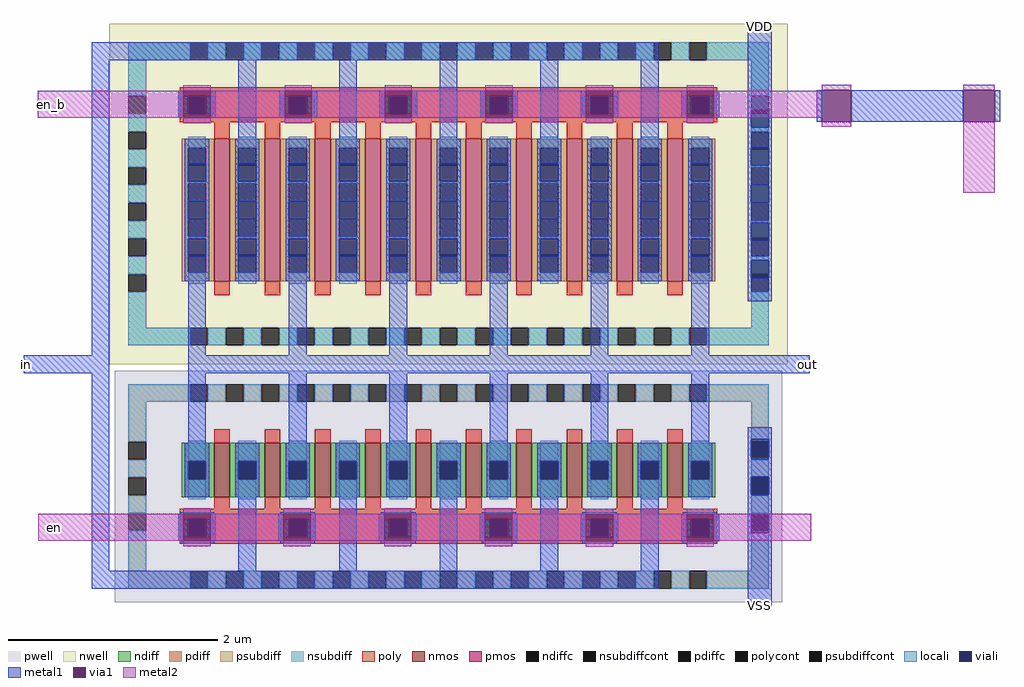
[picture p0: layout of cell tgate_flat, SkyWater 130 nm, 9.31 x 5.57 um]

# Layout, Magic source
magic
tech sky130A
magscale 1 2
<< nwell >>
rect 1257 863 2551 1513
<< pwell >>
rect 1267 409 2541 851
<< nmos >>
rect 1457 609 1487 713
rect 1553 609 1583 713
rect 1649 609 1679 713
rect 1745 609 1775 713
rect 1841 609 1871 713
rect 1937 609 1967 713
rect 2033 609 2063 713
rect 2129 609 2159 713
rect 2225 609 2255 713
rect 2321 609 2351 713
<< pmos >>
rect 1457 1021 1487 1293
rect 1553 1021 1583 1293
rect 1649 1021 1679 1293
rect 1745 1021 1775 1293
rect 1841 1021 1871 1293
rect 1937 1021 1967 1293
rect 2033 1021 2063 1293
rect 2129 1021 2159 1293
rect 2225 1021 2255 1293
rect 2321 1021 2351 1293
<< ndiff >>
rect 1395 678 1457 713
rect 1395 644 1407 678
rect 1441 644 1457 678
rect 1395 609 1457 644
rect 1487 678 1553 713
rect 1487 644 1503 678
rect 1537 644 1553 678
rect 1487 609 1553 644
rect 1583 678 1649 713
rect 1583 644 1599 678
rect 1633 644 1649 678
rect 1583 609 1649 644
rect 1679 678 1745 713
rect 1679 644 1695 678
rect 1729 644 1745 678
rect 1679 609 1745 644
rect 1775 678 1841 713
rect 1775 644 1791 678
rect 1825 644 1841 678
rect 1775 609 1841 644
rect 1871 678 1937 713
rect 1871 644 1887 678
rect 1921 644 1937 678
rect 1871 609 1937 644
rect 1967 678 2033 713
rect 1967 644 1983 678
rect 2017 644 2033 678
rect 1967 609 2033 644
rect 2063 678 2129 713
rect 2063 644 2079 678
rect 2113 644 2129 678
rect 2063 609 2129 644
rect 2159 678 2225 713
rect 2159 644 2175 678
rect 2209 644 2225 678
rect 2159 609 2225 644
rect 2255 678 2321 713
rect 2255 644 2271 678
rect 2305 644 2321 678
rect 2255 609 2321 644
rect 2351 678 2413 713
rect 2351 644 2367 678
rect 2401 644 2413 678
rect 2351 609 2413 644
<< pdiff >>
rect 1395 1276 1457 1293
rect 1395 1242 1407 1276
rect 1441 1242 1457 1276
rect 1395 1208 1457 1242
rect 1395 1174 1407 1208
rect 1441 1174 1457 1208
rect 1395 1140 1457 1174
rect 1395 1106 1407 1140
rect 1441 1106 1457 1140
rect 1395 1072 1457 1106
rect 1395 1038 1407 1072
rect 1441 1038 1457 1072
rect 1395 1021 1457 1038
rect 1487 1276 1553 1293
rect 1487 1242 1503 1276
rect 1537 1242 1553 1276
rect 1487 1208 1553 1242
rect 1487 1174 1503 1208
rect 1537 1174 1553 1208
rect 1487 1140 1553 1174
rect 1487 1106 1503 1140
rect 1537 1106 1553 1140
rect 1487 1072 1553 1106
rect 1487 1038 1503 1072
rect 1537 1038 1553 1072
rect 1487 1021 1553 1038
rect 1583 1276 1649 1293
rect 1583 1242 1599 1276
rect 1633 1242 1649 1276
rect 1583 1208 1649 1242
rect 1583 1174 1599 1208
rect 1633 1174 1649 1208
rect 1583 1140 1649 1174
rect 1583 1106 1599 1140
rect 1633 1106 1649 1140
rect 1583 1072 1649 1106
rect 1583 1038 1599 1072
rect 1633 1038 1649 1072
rect 1583 1021 1649 1038
rect 1679 1276 1745 1293
rect 1679 1242 1695 1276
rect 1729 1242 1745 1276
rect 1679 1208 1745 1242
rect 1679 1174 1695 1208
rect 1729 1174 1745 1208
rect 1679 1140 1745 1174
rect 1679 1106 1695 1140
rect 1729 1106 1745 1140
rect 1679 1072 1745 1106
rect 1679 1038 1695 1072
rect 1729 1038 1745 1072
rect 1679 1021 1745 1038
rect 1775 1276 1841 1293
rect 1775 1242 1791 1276
rect 1825 1242 1841 1276
rect 1775 1208 1841 1242
rect 1775 1174 1791 1208
rect 1825 1174 1841 1208
rect 1775 1140 1841 1174
rect 1775 1106 1791 1140
rect 1825 1106 1841 1140
rect 1775 1072 1841 1106
rect 1775 1038 1791 1072
rect 1825 1038 1841 1072
rect 1775 1021 1841 1038
rect 1871 1276 1937 1293
rect 1871 1242 1887 1276
rect 1921 1242 1937 1276
rect 1871 1208 1937 1242
rect 1871 1174 1887 1208
rect 1921 1174 1937 1208
rect 1871 1140 1937 1174
rect 1871 1106 1887 1140
rect 1921 1106 1937 1140
rect 1871 1072 1937 1106
rect 1871 1038 1887 1072
rect 1921 1038 1937 1072
rect 1871 1021 1937 1038
rect 1967 1276 2033 1293
rect 1967 1242 1983 1276
rect 2017 1242 2033 1276
rect 1967 1208 2033 1242
rect 1967 1174 1983 1208
rect 2017 1174 2033 1208
rect 1967 1140 2033 1174
rect 1967 1106 1983 1140
rect 2017 1106 2033 1140
rect 1967 1072 2033 1106
rect 1967 1038 1983 1072
rect 2017 1038 2033 1072
rect 1967 1021 2033 1038
rect 2063 1276 2129 1293
rect 2063 1242 2079 1276
rect 2113 1242 2129 1276
rect 2063 1208 2129 1242
rect 2063 1174 2079 1208
rect 2113 1174 2129 1208
rect 2063 1140 2129 1174
rect 2063 1106 2079 1140
rect 2113 1106 2129 1140
rect 2063 1072 2129 1106
rect 2063 1038 2079 1072
rect 2113 1038 2129 1072
rect 2063 1021 2129 1038
rect 2159 1276 2225 1293
rect 2159 1242 2175 1276
rect 2209 1242 2225 1276
rect 2159 1208 2225 1242
rect 2159 1174 2175 1208
rect 2209 1174 2225 1208
rect 2159 1140 2225 1174
rect 2159 1106 2175 1140
rect 2209 1106 2225 1140
rect 2159 1072 2225 1106
rect 2159 1038 2175 1072
rect 2209 1038 2225 1072
rect 2159 1021 2225 1038
rect 2255 1276 2321 1293
rect 2255 1242 2271 1276
rect 2305 1242 2321 1276
rect 2255 1208 2321 1242
rect 2255 1174 2271 1208
rect 2305 1174 2321 1208
rect 2255 1140 2321 1174
rect 2255 1106 2271 1140
rect 2305 1106 2321 1140
rect 2255 1072 2321 1106
rect 2255 1038 2271 1072
rect 2305 1038 2321 1072
rect 2255 1021 2321 1038
rect 2351 1276 2413 1293
rect 2351 1242 2367 1276
rect 2401 1242 2413 1276
rect 2351 1208 2413 1242
rect 2351 1174 2367 1208
rect 2401 1174 2413 1208
rect 2351 1140 2413 1174
rect 2351 1106 2367 1140
rect 2401 1106 2413 1140
rect 2351 1072 2413 1106
rect 2351 1038 2367 1072
rect 2401 1038 2413 1072
rect 2351 1021 2413 1038
<< ndiffc >>
rect 1407 644 1441 678
rect 1503 644 1537 678
rect 1599 644 1633 678
rect 1695 644 1729 678
rect 1791 644 1825 678
rect 1887 644 1921 678
rect 1983 644 2017 678
rect 2079 644 2113 678
rect 2175 644 2209 678
rect 2271 644 2305 678
rect 2367 644 2401 678
<< pdiffc >>
rect 1407 1242 1441 1276
rect 1407 1174 1441 1208
rect 1407 1106 1441 1140
rect 1407 1038 1441 1072
rect 1503 1242 1537 1276
rect 1503 1174 1537 1208
rect 1503 1106 1537 1140
rect 1503 1038 1537 1072
rect 1599 1242 1633 1276
rect 1599 1174 1633 1208
rect 1599 1106 1633 1140
rect 1599 1038 1633 1072
rect 1695 1242 1729 1276
rect 1695 1174 1729 1208
rect 1695 1106 1729 1140
rect 1695 1038 1729 1072
rect 1791 1242 1825 1276
rect 1791 1174 1825 1208
rect 1791 1106 1825 1140
rect 1791 1038 1825 1072
rect 1887 1242 1921 1276
rect 1887 1174 1921 1208
rect 1887 1106 1921 1140
rect 1887 1038 1921 1072
rect 1983 1242 2017 1276
rect 1983 1174 2017 1208
rect 1983 1106 2017 1140
rect 1983 1038 2017 1072
rect 2079 1242 2113 1276
rect 2079 1174 2113 1208
rect 2079 1106 2113 1140
rect 2079 1038 2113 1072
rect 2175 1242 2209 1276
rect 2175 1174 2209 1208
rect 2175 1106 2209 1140
rect 2175 1038 2209 1072
rect 2271 1242 2305 1276
rect 2271 1174 2305 1208
rect 2271 1106 2305 1140
rect 2271 1038 2305 1072
rect 2367 1242 2401 1276
rect 2367 1174 2401 1208
rect 2367 1106 2401 1140
rect 2367 1038 2401 1072
<< psubdiff >>
rect 1293 791 1411 825
rect 1445 791 1479 825
rect 1513 791 1547 825
rect 1581 791 1615 825
rect 1649 791 1683 825
rect 1717 791 1751 825
rect 1785 791 1819 825
rect 1853 791 1887 825
rect 1921 791 1955 825
rect 1989 791 2023 825
rect 2057 791 2091 825
rect 2125 791 2159 825
rect 2193 791 2227 825
rect 2261 791 2295 825
rect 2329 791 2363 825
rect 2397 791 2515 825
rect 1293 715 1327 791
rect 2481 715 2515 791
rect 1293 647 1327 681
rect 1293 579 1327 613
rect 2481 647 2515 681
rect 1293 469 1327 545
rect 2481 579 2515 613
rect 2481 469 2515 545
rect 1293 435 1411 469
rect 1445 435 1479 469
rect 1513 435 1547 469
rect 1581 435 1615 469
rect 1649 435 1683 469
rect 1717 435 1751 469
rect 1785 435 1819 469
rect 1853 435 1887 469
rect 1921 435 1955 469
rect 1989 435 2023 469
rect 2057 435 2091 469
rect 2125 435 2159 469
rect 2193 435 2227 469
rect 2261 435 2295 469
rect 2329 435 2363 469
rect 2397 435 2515 469
<< nsubdiff >>
rect 1293 1443 1411 1477
rect 1445 1443 1479 1477
rect 1513 1443 1547 1477
rect 1581 1443 1615 1477
rect 1649 1443 1683 1477
rect 1717 1443 1751 1477
rect 1785 1443 1819 1477
rect 1853 1443 1887 1477
rect 1921 1443 1955 1477
rect 1989 1443 2023 1477
rect 2057 1443 2091 1477
rect 2125 1443 2159 1477
rect 2193 1443 2227 1477
rect 2261 1443 2295 1477
rect 2329 1443 2363 1477
rect 2397 1443 2515 1477
rect 1293 1375 1327 1443
rect 1293 1307 1327 1341
rect 2481 1375 2515 1443
rect 2481 1307 2515 1341
rect 1293 1239 1327 1273
rect 1293 1171 1327 1205
rect 1293 1103 1327 1137
rect 1293 1035 1327 1069
rect 2481 1239 2515 1273
rect 2481 1171 2515 1205
rect 2481 1103 2515 1137
rect 2481 1035 2515 1069
rect 1293 933 1327 1001
rect 2481 933 2515 1001
rect 1293 899 1411 933
rect 1445 899 1479 933
rect 1513 899 1547 933
rect 1581 899 1615 933
rect 1649 899 1683 933
rect 1717 899 1751 933
rect 1785 899 1819 933
rect 1853 899 1887 933
rect 1921 899 1955 933
rect 1989 899 2023 933
rect 2057 899 2091 933
rect 2125 899 2159 933
rect 2193 899 2227 933
rect 2261 899 2295 933
rect 2329 899 2363 933
rect 2397 899 2515 933
<< psubdiffcont >>
rect 1411 791 1445 825
rect 1479 791 1513 825
rect 1547 791 1581 825
rect 1615 791 1649 825
rect 1683 791 1717 825
rect 1751 791 1785 825
rect 1819 791 1853 825
rect 1887 791 1921 825
rect 1955 791 1989 825
rect 2023 791 2057 825
rect 2091 791 2125 825
rect 2159 791 2193 825
rect 2227 791 2261 825
rect 2295 791 2329 825
rect 2363 791 2397 825
rect 1293 681 1327 715
rect 1293 613 1327 647
rect 2481 681 2515 715
rect 2481 613 2515 647
rect 1293 545 1327 579
rect 2481 545 2515 579
rect 1411 435 1445 469
rect 1479 435 1513 469
rect 1547 435 1581 469
rect 1615 435 1649 469
rect 1683 435 1717 469
rect 1751 435 1785 469
rect 1819 435 1853 469
rect 1887 435 1921 469
rect 1955 435 1989 469
rect 2023 435 2057 469
rect 2091 435 2125 469
rect 2159 435 2193 469
rect 2227 435 2261 469
rect 2295 435 2329 469
rect 2363 435 2397 469
<< nsubdiffcont >>
rect 1411 1443 1445 1477
rect 1479 1443 1513 1477
rect 1547 1443 1581 1477
rect 1615 1443 1649 1477
rect 1683 1443 1717 1477
rect 1751 1443 1785 1477
rect 1819 1443 1853 1477
rect 1887 1443 1921 1477
rect 1955 1443 1989 1477
rect 2023 1443 2057 1477
rect 2091 1443 2125 1477
rect 2159 1443 2193 1477
rect 2227 1443 2261 1477
rect 2295 1443 2329 1477
rect 2363 1443 2397 1477
rect 1293 1341 1327 1375
rect 2481 1341 2515 1375
rect 1293 1273 1327 1307
rect 1293 1205 1327 1239
rect 1293 1137 1327 1171
rect 1293 1069 1327 1103
rect 1293 1001 1327 1035
rect 2481 1273 2515 1307
rect 2481 1205 2515 1239
rect 2481 1137 2515 1171
rect 2481 1069 2515 1103
rect 2481 1001 2515 1035
rect 1411 899 1445 933
rect 1479 899 1513 933
rect 1547 899 1581 933
rect 1615 899 1649 933
rect 1683 899 1717 933
rect 1751 899 1785 933
rect 1819 899 1853 933
rect 1887 899 1921 933
rect 1955 899 1989 933
rect 2023 899 2057 933
rect 2091 899 2125 933
rect 2159 899 2193 933
rect 2227 899 2261 933
rect 2295 899 2329 933
rect 2363 899 2397 933
<< poly >>
rect 1391 1375 2417 1391
rect 1391 1341 1407 1375
rect 1441 1341 1599 1375
rect 1633 1341 1791 1375
rect 1825 1341 1983 1375
rect 2017 1341 2175 1375
rect 2209 1341 2367 1375
rect 2401 1341 2417 1375
rect 1391 1325 2417 1341
rect 1457 1293 1487 1325
rect 1553 1293 1583 1325
rect 1649 1293 1679 1325
rect 1745 1293 1775 1325
rect 1841 1293 1871 1325
rect 1937 1293 1967 1325
rect 2033 1293 2063 1325
rect 2129 1293 2159 1325
rect 2225 1293 2255 1325
rect 2321 1293 2351 1325
rect 1457 995 1487 1021
rect 1553 995 1583 1021
rect 1649 995 1679 1021
rect 1745 995 1775 1021
rect 1841 995 1871 1021
rect 1937 995 1967 1021
rect 2033 995 2063 1021
rect 2129 995 2159 1021
rect 2225 995 2255 1021
rect 2321 995 2351 1021
rect 1457 713 1487 739
rect 1553 713 1583 739
rect 1649 713 1679 739
rect 1745 713 1775 739
rect 1841 713 1871 739
rect 1937 713 1967 739
rect 2033 713 2063 739
rect 2129 713 2159 739
rect 2225 713 2255 739
rect 2321 713 2351 739
rect 1457 587 1487 609
rect 1553 587 1583 609
rect 1649 587 1679 609
rect 1745 587 1775 609
rect 1841 587 1871 609
rect 1937 587 1967 609
rect 2033 587 2063 609
rect 2129 587 2159 609
rect 2225 587 2255 609
rect 2321 587 2351 609
rect 1391 567 2417 587
rect 1391 533 1407 567
rect 1441 533 1599 567
rect 1633 533 1791 567
rect 1825 533 1983 567
rect 2017 533 2175 567
rect 2209 533 2367 567
rect 2401 533 2417 567
rect 1391 521 2417 533
<< polycont >>
rect 1407 1341 1441 1375
rect 1599 1341 1633 1375
rect 1791 1341 1825 1375
rect 1983 1341 2017 1375
rect 2175 1341 2209 1375
rect 2367 1341 2401 1375
rect 1407 533 1441 567
rect 1599 533 1633 567
rect 1791 533 1825 567
rect 1983 533 2017 567
rect 2175 533 2209 567
rect 2367 533 2401 567
<< locali >>
rect 1293 1443 1411 1477
rect 1445 1443 1479 1477
rect 1513 1443 1547 1477
rect 1581 1443 1615 1477
rect 1649 1443 1683 1477
rect 1717 1443 1751 1477
rect 1785 1443 1819 1477
rect 1853 1443 1887 1477
rect 1921 1443 1955 1477
rect 1989 1443 2023 1477
rect 2057 1443 2091 1477
rect 2125 1443 2159 1477
rect 2193 1443 2227 1477
rect 2261 1443 2295 1477
rect 2329 1443 2363 1477
rect 2397 1443 2515 1477
rect 1293 1375 1327 1443
rect 2481 1375 2515 1443
rect 1391 1341 1407 1375
rect 1441 1341 1457 1375
rect 1583 1341 1599 1375
rect 1633 1341 1649 1375
rect 1775 1341 1791 1375
rect 1825 1341 1841 1375
rect 1967 1341 1983 1375
rect 2017 1341 2033 1375
rect 2159 1341 2175 1375
rect 2209 1341 2225 1375
rect 2351 1341 2367 1375
rect 2401 1341 2417 1375
rect 1293 1307 1327 1341
rect 2481 1307 2515 1315
rect 1293 1239 1327 1273
rect 1293 1171 1327 1205
rect 1293 1103 1327 1137
rect 1293 1035 1327 1069
rect 1407 1276 1441 1297
rect 1407 1208 1441 1212
rect 1407 1102 1441 1106
rect 1407 1017 1441 1038
rect 1503 1276 1537 1297
rect 1503 1208 1537 1212
rect 1503 1102 1537 1106
rect 1503 1017 1537 1038
rect 1599 1276 1633 1297
rect 1599 1208 1633 1212
rect 1599 1102 1633 1106
rect 1599 1017 1633 1038
rect 1695 1276 1729 1297
rect 1695 1208 1729 1212
rect 1695 1102 1729 1106
rect 1695 1017 1729 1038
rect 1791 1276 1825 1297
rect 1791 1208 1825 1212
rect 1791 1102 1825 1106
rect 1791 1017 1825 1038
rect 1887 1276 1921 1297
rect 1887 1208 1921 1212
rect 1887 1102 1921 1106
rect 1887 1017 1921 1038
rect 1983 1276 2017 1297
rect 1983 1208 2017 1212
rect 1983 1102 2017 1106
rect 1983 1017 2017 1038
rect 2079 1276 2113 1297
rect 2079 1208 2113 1212
rect 2079 1102 2113 1106
rect 2079 1017 2113 1038
rect 2175 1276 2209 1297
rect 2175 1208 2209 1212
rect 2175 1102 2209 1106
rect 2175 1017 2209 1038
rect 2271 1276 2305 1297
rect 2271 1208 2305 1212
rect 2271 1102 2305 1106
rect 2271 1017 2305 1038
rect 2367 1276 2401 1297
rect 2367 1208 2401 1212
rect 2367 1102 2401 1106
rect 2367 1017 2401 1038
rect 2481 1239 2515 1243
rect 2481 1133 2515 1137
rect 2481 1061 2515 1069
rect 1293 933 1327 1001
rect 2481 933 2515 1001
rect 1293 899 1411 933
rect 1445 899 1479 933
rect 1513 899 1547 933
rect 1581 899 1615 933
rect 1649 899 1683 933
rect 1717 899 1751 933
rect 1785 899 1819 933
rect 1853 899 1887 933
rect 1921 899 1955 933
rect 1989 899 2023 933
rect 2057 899 2091 933
rect 2125 899 2159 933
rect 2193 899 2227 933
rect 2261 899 2295 933
rect 2329 899 2363 933
rect 2397 899 2515 933
rect 1293 791 1411 825
rect 1445 791 1479 825
rect 1513 791 1547 825
rect 1581 791 1615 825
rect 1649 791 1683 825
rect 1717 791 1751 825
rect 1785 791 1819 825
rect 1853 791 1887 825
rect 1921 791 1955 825
rect 1989 791 2023 825
rect 2057 791 2091 825
rect 2125 791 2159 825
rect 2193 791 2227 825
rect 2261 791 2295 825
rect 2329 791 2363 825
rect 2397 791 2515 825
rect 1293 715 1327 791
rect 2481 720 2515 791
rect 1293 647 1327 681
rect 1293 579 1327 613
rect 1407 678 1441 717
rect 1407 605 1441 644
rect 1503 678 1537 717
rect 1503 605 1537 644
rect 1599 678 1633 717
rect 1599 605 1633 644
rect 1695 678 1729 717
rect 1695 605 1729 644
rect 1791 678 1825 717
rect 1791 605 1825 644
rect 1887 678 1921 717
rect 1887 605 1921 644
rect 1983 678 2017 717
rect 1983 605 2017 644
rect 2079 678 2113 717
rect 2079 605 2113 644
rect 2175 678 2209 717
rect 2175 605 2209 644
rect 2271 678 2305 717
rect 2271 605 2305 644
rect 2367 678 2401 717
rect 2367 605 2401 644
rect 2481 648 2515 681
rect 2481 579 2515 613
rect 1293 469 1327 545
rect 1391 533 1407 567
rect 1441 533 1457 567
rect 1583 533 1599 567
rect 1633 533 1649 567
rect 1775 533 1791 567
rect 1825 533 1841 567
rect 1967 533 1983 567
rect 2017 533 2033 567
rect 2159 533 2175 567
rect 2209 533 2225 567
rect 2351 533 2367 567
rect 2401 533 2417 567
rect 2481 469 2515 542
rect 1293 435 1411 469
rect 1445 435 1479 469
rect 1513 435 1547 469
rect 1581 435 1615 469
rect 1649 435 1683 469
rect 1717 435 1751 469
rect 1785 435 1819 469
rect 1853 435 1887 469
rect 1921 435 1955 469
rect 1989 435 2023 469
rect 2057 435 2091 469
rect 2125 435 2159 469
rect 2193 435 2227 469
rect 2261 435 2295 469
rect 2329 435 2363 469
rect 2397 435 2515 469
<< viali >>
rect 1407 1341 1441 1375
rect 1599 1341 1633 1375
rect 1791 1341 1825 1375
rect 1983 1341 2017 1375
rect 2175 1341 2209 1375
rect 2367 1341 2401 1375
rect 2481 1341 2515 1349
rect 2481 1315 2515 1341
rect 1407 1242 1441 1246
rect 1407 1212 1441 1242
rect 1407 1140 1441 1174
rect 1407 1072 1441 1102
rect 1407 1068 1441 1072
rect 1503 1242 1537 1246
rect 1503 1212 1537 1242
rect 1503 1140 1537 1174
rect 1503 1072 1537 1102
rect 1503 1068 1537 1072
rect 1599 1242 1633 1246
rect 1599 1212 1633 1242
rect 1599 1140 1633 1174
rect 1599 1072 1633 1102
rect 1599 1068 1633 1072
rect 1695 1242 1729 1246
rect 1695 1212 1729 1242
rect 1695 1140 1729 1174
rect 1695 1072 1729 1102
rect 1695 1068 1729 1072
rect 1791 1242 1825 1246
rect 1791 1212 1825 1242
rect 1791 1140 1825 1174
rect 1791 1072 1825 1102
rect 1791 1068 1825 1072
rect 1887 1242 1921 1246
rect 1887 1212 1921 1242
rect 1887 1140 1921 1174
rect 1887 1072 1921 1102
rect 1887 1068 1921 1072
rect 1983 1242 2017 1246
rect 1983 1212 2017 1242
rect 1983 1140 2017 1174
rect 1983 1072 2017 1102
rect 1983 1068 2017 1072
rect 2079 1242 2113 1246
rect 2079 1212 2113 1242
rect 2079 1140 2113 1174
rect 2079 1072 2113 1102
rect 2079 1068 2113 1072
rect 2175 1242 2209 1246
rect 2175 1212 2209 1242
rect 2175 1140 2209 1174
rect 2175 1072 2209 1102
rect 2175 1068 2209 1072
rect 2271 1242 2305 1246
rect 2271 1212 2305 1242
rect 2271 1140 2305 1174
rect 2271 1072 2305 1102
rect 2271 1068 2305 1072
rect 2367 1242 2401 1246
rect 2367 1212 2401 1242
rect 2367 1140 2401 1174
rect 2367 1072 2401 1102
rect 2367 1068 2401 1072
rect 2481 1273 2515 1277
rect 2481 1243 2515 1273
rect 2481 1171 2515 1205
rect 2481 1103 2515 1133
rect 2481 1099 2515 1103
rect 2481 1035 2515 1061
rect 2481 1027 2515 1035
rect 1407 644 1441 678
rect 1503 644 1537 678
rect 1599 644 1633 678
rect 1695 644 1729 678
rect 1791 644 1825 678
rect 1887 644 1921 678
rect 1983 644 2017 678
rect 2079 644 2113 678
rect 2175 644 2209 678
rect 2271 644 2305 678
rect 2367 644 2401 678
rect 2481 715 2515 720
rect 2481 686 2515 715
rect 2481 647 2515 648
rect 2481 614 2515 647
rect 1407 533 1441 567
rect 1599 533 1633 567
rect 1791 533 1825 567
rect 1983 533 2017 567
rect 2175 533 2209 567
rect 2367 533 2401 567
rect 2481 545 2515 576
rect 2481 542 2515 545
<< metal1 >>
rect 1223 1443 2305 1477
rect 1223 880 1257 1443
rect 1388 1333 1398 1385
rect 1450 1333 1460 1385
rect 1503 1293 1537 1443
rect 1581 1333 1591 1385
rect 1643 1333 1653 1385
rect 1695 1293 1729 1443
rect 1772 1333 1782 1385
rect 1834 1333 1844 1385
rect 1887 1293 1921 1443
rect 1964 1333 1974 1385
rect 2026 1333 2036 1385
rect 2079 1293 2113 1443
rect 2156 1333 2166 1385
rect 2218 1333 2228 1385
rect 2271 1293 2305 1443
rect 2348 1333 2358 1385
rect 2410 1333 2420 1385
rect 2475 1349 2521 1513
rect 2475 1315 2481 1349
rect 2515 1315 2521 1349
rect 2606 1326 2616 1386
rect 2672 1326 2886 1386
rect 2946 1326 2956 1386
rect 1401 1246 1447 1293
rect 1401 1212 1407 1246
rect 1441 1212 1447 1246
rect 1401 1174 1447 1212
rect 1401 1140 1407 1174
rect 1441 1140 1447 1174
rect 1401 1102 1447 1140
rect 1401 1068 1407 1102
rect 1441 1068 1447 1102
rect 1401 1021 1447 1068
rect 1497 1246 1543 1293
rect 1497 1212 1503 1246
rect 1537 1212 1543 1246
rect 1497 1174 1543 1212
rect 1497 1140 1503 1174
rect 1537 1140 1543 1174
rect 1497 1102 1543 1140
rect 1497 1068 1503 1102
rect 1537 1068 1543 1102
rect 1497 1021 1543 1068
rect 1593 1246 1639 1293
rect 1593 1212 1599 1246
rect 1633 1212 1639 1246
rect 1593 1174 1639 1212
rect 1593 1140 1599 1174
rect 1633 1140 1639 1174
rect 1593 1102 1639 1140
rect 1593 1068 1599 1102
rect 1633 1068 1639 1102
rect 1593 1021 1639 1068
rect 1689 1246 1735 1293
rect 1689 1212 1695 1246
rect 1729 1212 1735 1246
rect 1689 1174 1735 1212
rect 1689 1140 1695 1174
rect 1729 1140 1735 1174
rect 1689 1102 1735 1140
rect 1689 1068 1695 1102
rect 1729 1068 1735 1102
rect 1689 1021 1735 1068
rect 1785 1246 1831 1293
rect 1785 1212 1791 1246
rect 1825 1212 1831 1246
rect 1785 1174 1831 1212
rect 1785 1140 1791 1174
rect 1825 1140 1831 1174
rect 1785 1102 1831 1140
rect 1785 1068 1791 1102
rect 1825 1068 1831 1102
rect 1785 1021 1831 1068
rect 1881 1246 1927 1293
rect 1881 1212 1887 1246
rect 1921 1212 1927 1246
rect 1881 1174 1927 1212
rect 1881 1140 1887 1174
rect 1921 1140 1927 1174
rect 1881 1102 1927 1140
rect 1881 1068 1887 1102
rect 1921 1068 1927 1102
rect 1881 1021 1927 1068
rect 1977 1246 2023 1293
rect 1977 1212 1983 1246
rect 2017 1212 2023 1246
rect 1977 1174 2023 1212
rect 1977 1140 1983 1174
rect 2017 1140 2023 1174
rect 1977 1102 2023 1140
rect 1977 1068 1983 1102
rect 2017 1068 2023 1102
rect 1977 1021 2023 1068
rect 2073 1246 2119 1293
rect 2073 1212 2079 1246
rect 2113 1212 2119 1246
rect 2073 1174 2119 1212
rect 2073 1140 2079 1174
rect 2113 1140 2119 1174
rect 2073 1102 2119 1140
rect 2073 1068 2079 1102
rect 2113 1068 2119 1102
rect 2073 1021 2119 1068
rect 2169 1246 2215 1293
rect 2169 1212 2175 1246
rect 2209 1212 2215 1246
rect 2169 1174 2215 1212
rect 2169 1140 2175 1174
rect 2209 1140 2215 1174
rect 2169 1102 2215 1140
rect 2169 1068 2175 1102
rect 2209 1068 2215 1102
rect 2169 1021 2215 1068
rect 2265 1246 2311 1293
rect 2265 1212 2271 1246
rect 2305 1212 2311 1246
rect 2265 1174 2311 1212
rect 2265 1140 2271 1174
rect 2305 1140 2311 1174
rect 2265 1102 2311 1140
rect 2265 1068 2271 1102
rect 2305 1068 2311 1102
rect 2265 1021 2311 1068
rect 2361 1246 2407 1293
rect 2361 1212 2367 1246
rect 2401 1212 2407 1246
rect 2361 1174 2407 1212
rect 2361 1140 2367 1174
rect 2401 1140 2407 1174
rect 2361 1102 2407 1140
rect 2361 1068 2367 1102
rect 2401 1068 2407 1102
rect 2361 1021 2407 1068
rect 2475 1277 2521 1315
rect 2475 1243 2481 1277
rect 2515 1243 2521 1277
rect 2475 1205 2521 1243
rect 2475 1171 2481 1205
rect 2515 1171 2521 1205
rect 2475 1133 2521 1171
rect 2475 1099 2481 1133
rect 2515 1099 2521 1133
rect 2475 1061 2521 1099
rect 2475 1027 2481 1061
rect 2515 1027 2521 1061
rect 1094 846 1257 880
rect 1223 469 1257 846
rect 1407 880 1441 1021
rect 1599 880 1633 1021
rect 1791 880 1825 1021
rect 1983 880 2017 1021
rect 2175 880 2209 1021
rect 2367 880 2401 1021
rect 2475 983 2521 1027
rect 1407 846 2593 880
rect 1407 713 1441 846
rect 1599 713 1633 846
rect 1791 713 1825 846
rect 1983 713 2017 846
rect 2175 713 2209 846
rect 2367 713 2401 846
rect 2475 720 2521 743
rect 1401 678 1447 713
rect 1401 644 1407 678
rect 1441 644 1447 678
rect 1401 609 1447 644
rect 1497 678 1543 713
rect 1497 644 1503 678
rect 1537 644 1543 678
rect 1497 609 1543 644
rect 1593 678 1639 713
rect 1593 644 1599 678
rect 1633 644 1639 678
rect 1593 609 1639 644
rect 1689 678 1735 713
rect 1689 644 1695 678
rect 1729 644 1735 678
rect 1689 609 1735 644
rect 1785 678 1831 713
rect 1785 644 1791 678
rect 1825 644 1831 678
rect 1785 609 1831 644
rect 1881 678 1927 713
rect 1881 644 1887 678
rect 1921 644 1927 678
rect 1881 609 1927 644
rect 1977 678 2023 713
rect 1977 644 1983 678
rect 2017 644 2023 678
rect 1977 609 2023 644
rect 2073 678 2119 713
rect 2073 644 2079 678
rect 2113 644 2119 678
rect 2073 609 2119 644
rect 2169 678 2215 713
rect 2169 644 2175 678
rect 2209 644 2215 678
rect 2169 609 2215 644
rect 2265 678 2311 713
rect 2265 644 2271 678
rect 2305 644 2311 678
rect 2265 609 2311 644
rect 2361 678 2407 713
rect 2361 644 2367 678
rect 2401 644 2407 678
rect 2361 609 2407 644
rect 2475 686 2481 720
rect 2515 686 2521 720
rect 2475 648 2521 686
rect 2475 614 2481 648
rect 2515 614 2521 648
rect 1391 578 1457 581
rect 1388 526 1398 578
rect 1450 526 1460 578
rect 1391 521 1457 526
rect 1503 469 1537 609
rect 1583 578 1649 581
rect 1579 526 1589 578
rect 1641 526 1651 578
rect 1583 521 1649 526
rect 1695 469 1729 609
rect 1775 578 1841 581
rect 1771 526 1781 578
rect 1833 526 1843 578
rect 1775 521 1841 526
rect 1887 469 1921 609
rect 1967 578 2033 581
rect 1963 526 1973 578
rect 2025 526 2035 578
rect 1967 521 2033 526
rect 2079 469 2113 609
rect 2159 577 2225 581
rect 2156 525 2166 577
rect 2218 525 2228 577
rect 2159 521 2225 525
rect 2271 469 2305 609
rect 2351 577 2417 581
rect 2348 525 2358 577
rect 2410 525 2420 577
rect 2475 576 2521 614
rect 2475 542 2481 576
rect 2515 542 2521 576
rect 2351 521 2417 525
rect 1223 435 2305 469
rect 2475 399 2521 542
<< via1 >>
rect 1398 1375 1450 1385
rect 1398 1341 1407 1375
rect 1407 1341 1441 1375
rect 1441 1341 1450 1375
rect 1398 1333 1450 1341
rect 1591 1375 1643 1385
rect 1591 1341 1599 1375
rect 1599 1341 1633 1375
rect 1633 1341 1643 1375
rect 1591 1333 1643 1341
rect 1782 1375 1834 1385
rect 1782 1341 1791 1375
rect 1791 1341 1825 1375
rect 1825 1341 1834 1375
rect 1782 1333 1834 1341
rect 1974 1375 2026 1385
rect 1974 1341 1983 1375
rect 1983 1341 2017 1375
rect 2017 1341 2026 1375
rect 1974 1333 2026 1341
rect 2166 1375 2218 1385
rect 2166 1341 2175 1375
rect 2175 1341 2209 1375
rect 2209 1341 2218 1375
rect 2166 1333 2218 1341
rect 2358 1375 2410 1385
rect 2358 1341 2367 1375
rect 2367 1341 2401 1375
rect 2401 1341 2410 1375
rect 2358 1333 2410 1341
rect 2616 1326 2672 1386
rect 2886 1326 2946 1386
rect 1398 567 1450 578
rect 1398 533 1407 567
rect 1407 533 1441 567
rect 1441 533 1450 567
rect 1398 526 1450 533
rect 1589 567 1641 578
rect 1589 533 1599 567
rect 1599 533 1633 567
rect 1633 533 1641 567
rect 1589 526 1641 533
rect 1781 567 1833 578
rect 1781 533 1791 567
rect 1791 533 1825 567
rect 1825 533 1833 567
rect 1781 526 1833 533
rect 1973 567 2025 578
rect 1973 533 1983 567
rect 1983 533 2017 567
rect 2017 533 2025 567
rect 1973 526 2025 533
rect 2166 567 2218 577
rect 2166 533 2175 567
rect 2175 533 2209 567
rect 2209 533 2218 567
rect 2166 525 2218 533
rect 2358 567 2410 577
rect 2358 533 2367 567
rect 2367 533 2401 567
rect 2401 533 2410 567
rect 2358 525 2410 533
<< metal2 >>
rect 1398 1385 1450 1395
rect 1591 1385 1643 1395
rect 1782 1385 1834 1395
rect 1974 1385 2026 1395
rect 2166 1385 2218 1395
rect 2358 1385 2410 1395
rect 2616 1386 2672 1396
rect 1120 1333 1398 1385
rect 1450 1333 1591 1385
rect 1643 1333 1782 1385
rect 1834 1333 1974 1385
rect 2026 1333 2166 1385
rect 2218 1333 2358 1385
rect 2410 1333 2616 1385
rect 1398 1323 1450 1333
rect 1591 1323 1643 1333
rect 1782 1323 1834 1333
rect 1974 1323 2026 1333
rect 2166 1323 2218 1333
rect 2358 1323 2410 1333
rect 2616 1316 2672 1326
rect 2886 1386 2946 1396
rect 2886 1190 2946 1326
rect 1398 578 1450 588
rect 1589 578 1641 588
rect 1781 578 1833 588
rect 1973 578 2025 588
rect 2166 578 2218 587
rect 2358 578 2410 587
rect 1121 526 1398 578
rect 1450 526 1589 578
rect 1641 526 1781 578
rect 1833 526 1973 578
rect 2025 577 2596 578
rect 2025 526 2166 577
rect 1398 516 1450 526
rect 1589 516 1641 526
rect 1781 516 1833 526
rect 1973 516 2025 526
rect 2218 526 2358 577
rect 2166 515 2218 525
rect 2410 526 2596 577
rect 2358 515 2410 525
<< labels >>
flabel metal2 1120 1333 1172 1385 1 FreeSans 480 0 0 0 en_b
flabel metal2 1122 526 1182 578 1 FreeSans 480 0 0 0 en
flabel metal1 s 2498 402 2498 402 1 FreeSans 500 0 0 0 VSS
port 6 nsew
flabel metal1 s 2498 1508 2498 1508 5 FreeSans 500 0 0 0 VDD
port 5 nsew
flabel metal1 s 2589 862 2589 862 7 FreeSans 500 0 0 0 out
port 4 nsew
flabel metal1 s 1098 863 1098 863 3 FreeSans 500 0 0 0 in
port 2 nsew
<< end >>
